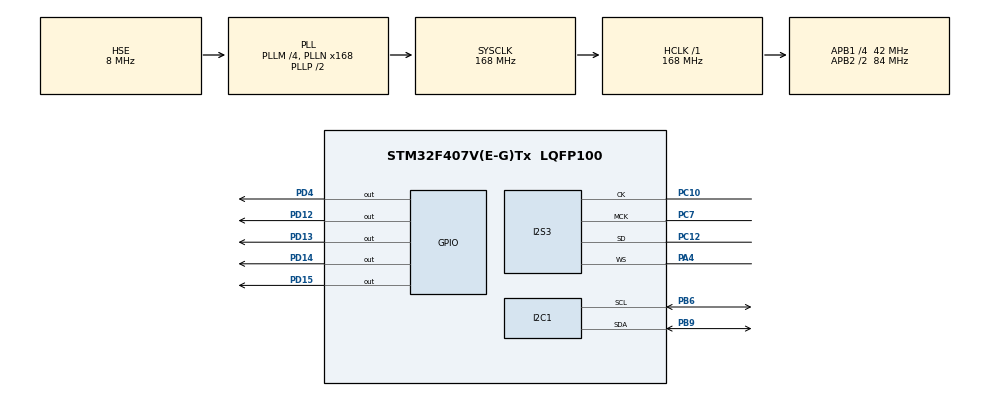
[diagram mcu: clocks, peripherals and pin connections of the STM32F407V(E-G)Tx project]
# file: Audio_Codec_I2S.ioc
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Dma.Request0=SPI3_TX
Dma.SPI3_TX.0.Direction=DMA_MEMORY_TO_PERIPH
Dma.SPI3_TX.0.FIFOMode=DMA_FIFOMODE_ENABLE
Dma.SPI3_TX.0.FIFOThreshold=DMA_FIFO_THRESHOLD_FULL
Dma.SPI3_TX.0.Instance=DMA1_Stream5
Dma.SPI3_TX.0.MemBurst=DMA_MBURST_SINGLE
Dma.SPI3_TX.0.MemDataAlignment=DMA_MDATAALIGN_HALFWORD
Dma.SPI3_TX.0.MemInc=DMA_MINC_ENABLE
Dma.SPI3_TX.0.Mode=DMA_CIRCULAR
Dma.SPI3_TX.0.PeriphBurst=DMA_PBURST_SINGLE
Dma.SPI3_TX.0.PeriphDataAlignment=DMA_PDATAALIGN_HALFWORD
Dma.SPI3_TX.0.PeriphInc=DMA_PINC_DISABLE
Dma.SPI3_TX.0.Priority=DMA_PRIORITY_LOW
I2S3.AudioFreq=I2S_AUDIOFREQ_48K
I2S3.ErrorAudioFreq=1.72 %
I2S3.FullDuplexMode=I2S_FULLDUPLEXMODE_DISABLE
I2S3.Instance=SPI$Index
I2S3.RealAudioFreq=48.828 KHz
I2S3.VirtualMode=I2S_MODE_MASTER
Mcu.Family=STM32F4
Mcu.Name=STM32F407V(E-G)Tx
Mcu.Package=LQFP100
NVIC.DMA1_Stream5_IRQn=true\:0\:0\:false\:false\:true\:false\:true
NVIC.PriorityGroup=NVIC_PRIORITYGROUP_4
PA4.Mode=Half_Duplex_Master
PA4.Signal=I2S3_WS
PB6.Mode=I2C
PB6.Signal=I2C1_SCL
PB9.Mode=I2C
PB9.Signal=I2C1_SDA
PC10.Mode=Half_Duplex_Master
PC10.Signal=I2S3_CK
PC12.Mode=Half_Duplex_Master
PC12.Signal=I2S3_SD
PC7.Mode=Master_Clock_Activated
PC7.Signal=I2S3_MCK
PD12.Signal=GPIO_Output
PD13.Signal=GPIO_Output
PD14.Signal=GPIO_Output
PD15.Signal=GPIO_Output
PD4.Signal=GPIO_Output
PH0-OSC_IN.Mode=HSE-External-Oscillator
PH0-OSC_IN.Signal=RCC_OSC_IN
PH1-OSC_OUT.Mode=HSE-External-Oscillator
PH1-OSC_OUT.Signal=RCC_OSC_OUT
ProjectManager.HeapSize=0x200
ProjectManager.StackSize=0x400
ProjectManager.TargetToolchain=STM32CubeIDE
RCC.48MHZClocksFreq_Value=84000000
RCC.AHBFreq_Value=168000000
RCC.APB1CLKDivider=RCC_HCLK_DIV4
RCC.APB1Freq_Value=42000000
RCC.APB1TimFreq_Value=84000000
RCC.APB2CLKDivider=RCC_HCLK_DIV2
RCC.APB2Freq_Value=84000000
RCC.APB2TimFreq_Value=168000000
RCC.CortexFreq_Value=168000000
RCC.HCLKFreq_Value=168000000
RCC.HSE_VALUE=8000000
RCC.HSI_VALUE=16000000
RCC.LSE_VALUE=32768
RCC.PLLI2SN=50
RCC.PLLM=4
RCC.PLLN=168
RCC.PLLSourceVirtual=RCC_PLLSOURCE_HSE
RCC.SYSCLKFreq_VALUE=168000000
RCC.SYSCLKSource=RCC_SYSCLKSOURCE_PLLCLK
RCC.VCOOutputFreq_Value=336000000
board=custom

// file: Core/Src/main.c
/* USER CODE BEGIN Header */
/**
  ******************************************************************************
  * @file           : main.c
  * @brief          : Main program body
  ******************************************************************************
  * @attention
  *
  * <h2><center>&copy; Copyright (c) 2021 STMicroelectronics.
  * All rights reserved.</center></h2>
  *
  * This software component is licensed by ST under BSD 3-Clause license,
  * the "License"; You may not use this file except in compliance with the
  * License. You may obtain a copy of the License at:
  *                        opensource.org/licenses/BSD-3-Clause
  *
  ******************************************************************************
  */
/* USER CODE END Header */
#include "main.h"

/* USER CODE BEGIN Includes */
#include "MY_CS43L22.h"
#include <math.h>
/* USER CODE END Includes */

I2C_HandleTypeDef hi2c1;

I2S_HandleTypeDef hi2s3;
DMA_HandleTypeDef hdma_spi3_tx;

/* USER CODE BEGIN PV */
#define PI 3.14159f //float var
#define F_SAMPLE 48000.0f //sample rate 50KHz , 48KHz as shown for I2S3 config
#define F_OUT 1500.0f // desired freq o/p 1KHz-1.5kHz

/* USER CODE END PV */

void SystemClock_Config(void);
static void MX_GPIO_Init(void);
static void MX_DMA_Init(void);
static void MX_I2C1_Init(void);
static void MX_I2S3_Init(void);

/* USER CODE BEGIN 0 */
float mySinVal;
float sample_dt; // defined in main
uint16_t sample_N; // defined in main
uint16_t i_t; //time indexer
uint32_t myDacVal;

int16_t I2S_Data[100]; //signed to store -ve value too

//uint16_t I2S_Dummy[4]; //even as right + left side data

/* USER CODE END 0 */

int main(void)
{
  /* USER CODE BEGIN 1 */
  sample_dt = F_OUT / F_SAMPLE; // 1000/50000 = 0.02
  sample_N = F_SAMPLE / F_OUT; // 50000/1000 = 50 samples (discrete)

  /* USER CODE END 1 */

  /* MCU Configuration--------------------------------------------------------*/

  /* Reset of all peripherals, Initializes the Flash interface and the Systick. */
  HAL_Init();

  /* Configure the system clock */
  SystemClock_Config();

  /* Initialize all configured peripherals */
  MX_GPIO_Init();
  MX_DMA_Init();
  MX_I2C1_Init();
  MX_I2S3_Init();
  /* USER CODE BEGIN 2 */
  //set up audio codec
//  CS43_Init(&hi2c1, MODE_ANALOG); // can only use IS2, no analog DAC o/p
  CS43_Init(hi2c1, MODE_I2S); // can only use IS2, no analog DAC o/p
  CS43_SetVolume(40); //vol 0 - 100, STM32 not enough power for audio amp (40)
  CS43_Enable_RightLeft(CS43_RIGHT_LEFT); //enable right / left side, from .h file
  CS43_Start();

  //I2S sine wave, store in array then o/p it via DMA
  for(uint16_t i=0; i< sample_N; i++)
  {
	  mySinVal = sinf(i*2*PI*sample_dt); //sine wave
	  I2S_Data[i*2] = (mySinVal + 0)*8000; //store sine wave, right data at even indexes (0,2,4,5,8,10,12)
	  I2S_Data[i*2 + 1] = (mySinVal + 0)*8000; //left data at odd indexes (1,3,5,7,9,11,13)
  }

  //send dummy bytes via I2S, to use I2S clocks
//  HAL_I2S_Transmit_DMA(&hi2s3, (uint16_t *)I2S_Dummy, 4);
  HAL_I2S_Transmit_DMA(&hi2s3, (uint16_t *)I2S_Data, sample_N*2); //2x sample as left + right headphone data

//  //start DAC to hear, analog method, useful if streaming audio sample by sample (at 50KHz)
//  HAL_DAC_Start(&hdac, DAC_CHANNEL_1);
//
//  //start tim interrupt callback func (50KHz sample) below
//  HAL_TIM_Base_Start_IT(&htim2);

  /* USER CODE END 2 */

  /* Infinite loop */
  while (1)
  {

  }
}

void SystemClock_Config(void)
{
  RCC_OscInitTypeDef RCC_OscInitStruct = {0};
  RCC_ClkInitTypeDef RCC_ClkInitStruct = {0};

  /** Configure the main internal regulator output voltage
  */
  __HAL_RCC_PWR_CLK_ENABLE();
  __HAL_PWR_VOLTAGESCALING_CONFIG(PWR_REGULATOR_VOLTAGE_SCALE1);
  /** Initializes the RCC Oscillators according to the specified parameters
  * in the RCC_OscInitTypeDef structure.
  */
  RCC_OscInitStruct.OscillatorType = RCC_OSCILLATORTYPE_HSE;
  RCC_OscInitStruct.HSEState = RCC_HSE_ON;
  RCC_OscInitStruct.PLL.PLLState = RCC_PLL_ON;
  RCC_OscInitStruct.PLL.PLLSource = RCC_PLLSOURCE_HSE;
  RCC_OscInitStruct.PLL.PLLM = 4;
  RCC_OscInitStruct.PLL.PLLN = 168;
  RCC_OscInitStruct.PLL.PLLP = RCC_PLLP_DIV2;
  RCC_OscInitStruct.PLL.PLLQ = 4;
  if (HAL_RCC_OscConfig(&RCC_OscInitStruct) != HAL_OK)
  {
    Error_Handler();
  }
  /** Initializes the CPU, AHB and APB buses clocks
  */
  RCC_ClkInitStruct.ClockType = RCC_CLOCKTYPE_HCLK|RCC_CLOCKTYPE_SYSCLK
                              |RCC_CLOCKTYPE_PCLK1|RCC_CLOCKTYPE_PCLK2;
  RCC_ClkInitStruct.SYSCLKSource = RCC_SYSCLKSOURCE_PLLCLK;
  RCC_ClkInitStruct.AHBCLKDivider = RCC_SYSCLK_DIV1;
  RCC_ClkInitStruct.APB1CLKDivider = RCC_HCLK_DIV4;
  RCC_ClkInitStruct.APB2CLKDivider = RCC_HCLK_DIV2;

  if (HAL_RCC_ClockConfig(&RCC_ClkInitStruct, FLASH_LATENCY_5) != HAL_OK)
  {
    Error_Handler();
  }
}

static void MX_I2C1_Init(void)
{

  hi2c1.Instance = I2C1;
  hi2c1.Init.ClockSpeed = 100000;
  hi2c1.Init.DutyCycle = I2C_DUTYCYCLE_2;
  hi2c1.Init.OwnAddress1 = 0;
  hi2c1.Init.AddressingMode = I2C_ADDRESSINGMODE_7BIT;
  hi2c1.Init.DualAddressMode = I2C_DUALADDRESS_DISABLE;
  hi2c1.Init.OwnAddress2 = 0;
  hi2c1.Init.GeneralCallMode = I2C_GENERALCALL_DISABLE;
  hi2c1.Init.NoStretchMode = I2C_NOSTRETCH_DISABLE;
  if (HAL_I2C_Init(&hi2c1) != HAL_OK)
  {
    Error_Handler();
  }

}

static void MX_I2S3_Init(void)
{

  hi2s3.Instance = SPI3;
  hi2s3.Init.Mode = I2S_MODE_MASTER_TX;
  hi2s3.Init.Standard = I2S_STANDARD_PHILIPS;
  hi2s3.Init.DataFormat = I2S_DATAFORMAT_16B;
  hi2s3.Init.MCLKOutput = I2S_MCLKOUTPUT_ENABLE;
  hi2s3.Init.AudioFreq = I2S_AUDIOFREQ_48K;
  hi2s3.Init.CPOL = I2S_CPOL_LOW;
  hi2s3.Init.ClockSource = I2S_CLOCK_PLL;
  hi2s3.Init.FullDuplexMode = I2S_FULLDUPLEXMODE_DISABLE;
  if (HAL_I2S_Init(&hi2s3) != HAL_OK)
  {
    Error_Handler();
  }

}

static void MX_DMA_Init(void)
{

  /* DMA controller clock enable */
  __HAL_RCC_DMA1_CLK_ENABLE();

  /* DMA interrupt init */
  /* DMA1_Stream5_IRQn interrupt configuration */
  HAL_NVIC_SetPriority(DMA1_Stream5_IRQn, 0, 0);
  HAL_NVIC_EnableIRQ(DMA1_Stream5_IRQn);

}

static void MX_GPIO_Init(void)
{
  GPIO_InitTypeDef GPIO_InitStruct = {0};

  /* GPIO Ports Clock Enable */
  __HAL_RCC_GPIOH_CLK_ENABLE();
  __HAL_RCC_GPIOA_CLK_ENABLE();
  __HAL_RCC_GPIOD_CLK_ENABLE();
  __HAL_RCC_GPIOC_CLK_ENABLE();
  __HAL_RCC_GPIOB_CLK_ENABLE();

  /*Configure GPIO pin Output Level */
  HAL_GPIO_WritePin(GPIOD, GPIO_PIN_12|GPIO_PIN_13|GPIO_PIN_14|GPIO_PIN_15
                          |GPIO_PIN_4, GPIO_PIN_RESET);

  /*Configure GPIO pins : PD12 PD13 PD14 PD15
                           PD4 */
  GPIO_InitStruct.Pin = GPIO_PIN_12|GPIO_PIN_13|GPIO_PIN_14|GPIO_PIN_15
                          |GPIO_PIN_4;
  GPIO_InitStruct.Mode = GPIO_MODE_OUTPUT_PP;
  GPIO_InitStruct.Pull = GPIO_NOPULL;
  GPIO_InitStruct.Speed = GPIO_SPEED_FREQ_LOW;
  HAL_GPIO_Init(GPIOD, &GPIO_InitStruct);

}

/* USER CODE BEGIN 4 */

//void HAL_TIM_PeriodElapsedCallback(TIM_HandleTypeDef *htim)
//{
//  /* Prevent unused argument(s) compilation warning */
//  UNUSED(htim);
//
//  /* NOTE : This function should not be modified, when the callback is needed,
//            the HAL_TIM_PeriodElapsedCallback could be implemented in the user file
//   */
//
//  //if tim2, since this func for all TIM
//  if(htim->Instance ==TIM2)
//  {
//	  //floating point sine wave 1KHz audio (using math.h)
//	  mySinVal = sinf(i_t * 2 * PI * sample_dt); //sine wave 1 period (2*PI) from 0 to 50 samples at 1KHz o/p (50KHz/50)
//
//	  //convert float to dec to use DAC o/p
//	  myDacVal = (mySinVal + 1) * 127; //can't do -ve numbers of sine, so +1 to shift up range 0->2, 127 = 1 byte (1 byte = 255, -ve and +ve so / by 2 = 127)
//	  //o/p sample to STM DAC
//	  HAL_DAC_SetValue(&hdac, DAC_CHANNEL_1, DAC_ALIGN_8B_R, myDacVal);
//
//	  i_t++;
//
//	  if(i_t >= sample_N)
//	  {
//		  i_t = 0; //reset index
//	  }
//
//  }
//
//}

/* USER CODE END 4 */

void Error_Handler(void)
{
  __disable_irq();
  while (1)
  {
  }
}

/************************ (C) COPYRIGHT STMicroelectronics *****END OF FILE****/
